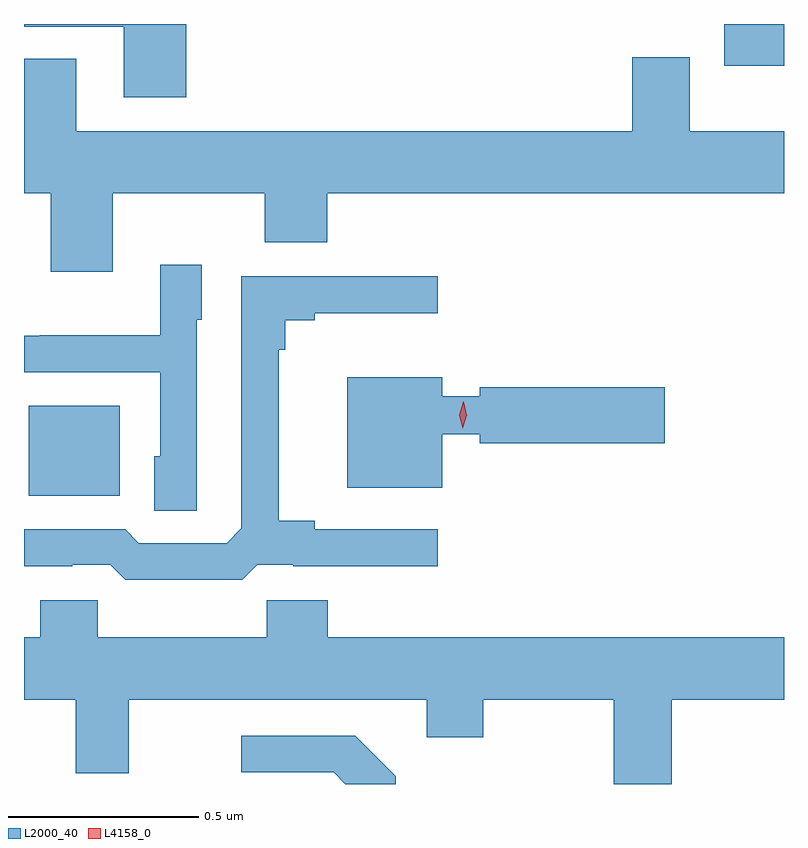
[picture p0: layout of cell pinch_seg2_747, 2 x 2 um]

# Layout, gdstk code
import gdstk
lib = gdstk.Library(unit=1e-6, precision=1e-09)
def R(c, l, rs):  # rectangles x0, y0, x1, y1
    for r in rs: c.add(gdstk.rectangle(r[:2], r[2:], *l))
def P(c, l, *ps):  # polygons
    for p in ps: c.add(gdstk.Polygon(p, *l))
L2000_40 = (2000, 40)
L4158_0 = (4158, 0)

pinch_seg2_747 = lib.new_cell('pinch_seg2_747')
R(pinch_seg2_747, L2000_40, [(821.3,661.493,821.539,661.729), (823.13,662.624,823.287,662.734)])
P(pinch_seg2_747, L2000_40, [(821.714,662.734),(821.287,662.734),(821.287,662.727),(821.549,662.727),(821.549,662.541),(821.714,662.541)],
  [(821.521,662.288),(821.921,662.288),(821.921,662.16),(822.085,662.16),(822.085,662.288),(823.287,662.288),(823.287,662.452),(823.039,662.452),(823.039,662.647),(822.887,662.647),(822.887,662.452),(821.425,662.452),(821.425,662.642),(821.287,662.642),(821.287,662.288),(821.357,662.288),(821.357,662.082),(821.521,662.082)],
  [(821.742,661.956),(821.755,661.956),(821.755,662.101),(821.646,662.101),(821.646,661.915),(821.329,661.915),(821.329,661.914),(821.287,661.914),(821.287,661.818),(821.646,661.818),(821.646,661.596),(821.63,661.596),(821.63,661.453),(821.742,661.453)],
  [(821.901,661.311),(821.995,661.311),(821.995,661.307),(822.376,661.307),(822.376,661.404),(822.052,661.404),(822.052,661.427),(821.957,661.427),(821.957,661.877),(821.975,661.877),(821.975,661.954),(822.052,661.954),(822.052,661.973),(822.376,661.973),(822.376,662.07),(821.859,662.07),(821.859,661.407),(821.82,661.368),(821.589,661.368),(821.553,661.404),(821.287,661.404),(821.287,661.307),(821.414,661.307),(821.414,661.311),(821.514,661.311),(821.554,661.272),(821.861,661.272)],
  [(822.388,661.654),(822.486,661.654),(822.486,661.631),(822.973,661.631),(822.973,661.778),(822.486,661.778),(822.486,661.755),(822.388,661.755),(822.388,661.804),(822.137,661.804),(822.137,661.514),(822.388,661.514)],
  [(822.992,660.956),(823.287,660.956),(823.287,661.12),(822.086,661.12),(822.086,661.218),(821.926,661.218),(821.926,661.12),(821.481,661.12),(821.481,661.218),(821.33,661.218),(821.33,661.12),(821.287,661.12),(821.287,660.956),(821.423,660.956),(821.423,660.762),(821.563,660.762),(821.563,660.956),(822.347,660.956),(822.347,660.857),(822.495,660.857),(822.495,660.956),(822.839,660.956),(822.839,660.734),(822.992,660.734)],
  [(822.265,660.755),(822.159,660.861),(821.859,660.861),(821.859,660.765),(822.102,660.765),(822.133,660.734),(822.265,660.734)])
P(pinch_seg2_747, L4158_0, [(822.441,661.67),(822.441,661.67),(822.432,661.705),(822.443,661.74),(822.444,661.74),(822.444,661.74),(822.452,661.705),(822.441,661.67)])

lib.write_gds('pinch_seg2_747.gds')
